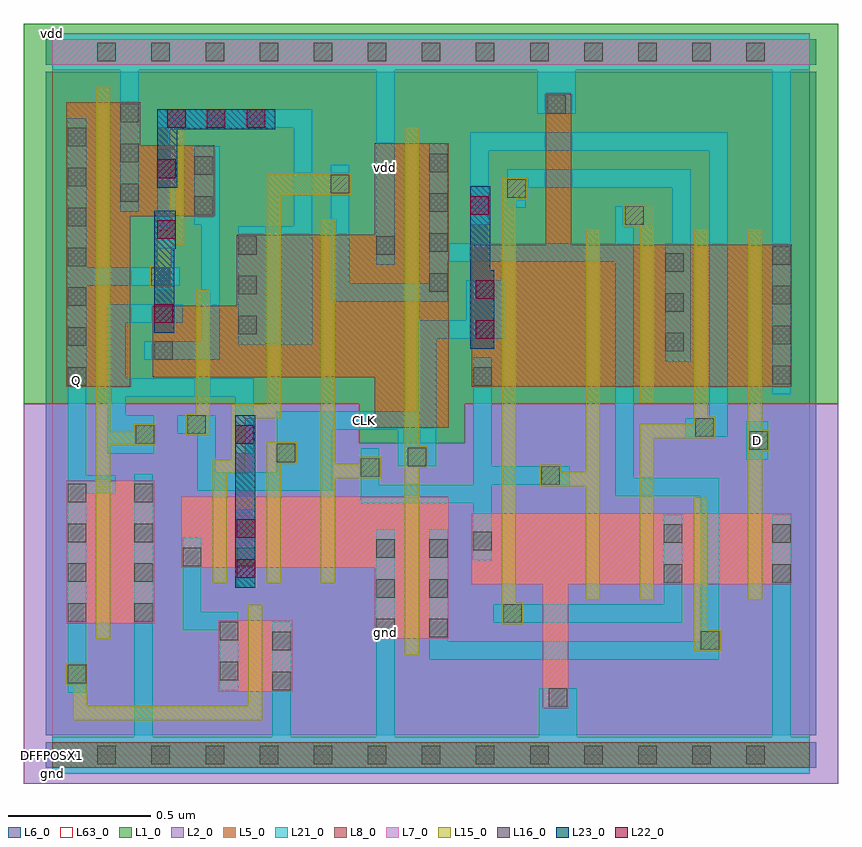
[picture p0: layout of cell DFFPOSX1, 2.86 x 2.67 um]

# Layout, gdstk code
import gdstk
lib = gdstk.Library(unit=1e-6, precision=1e-09)
def R(c, l, rs):  # rectangles x0, y0, x1, y1
    for r in rs: c.add(gdstk.rectangle(r[:2], r[2:], *l))
def A(c, l, x, y, w, h, nx, ny, dx, dy):  # array of equal rectangles
    R(c, l, [(x+i*dx, y+j*dy, x+i*dx+w, y+j*dy+h) for i in range(nx) for j in range(ny)])
def P(c, l, *ps):  # polygons
    for p in ps: c.add(gdstk.Polygon(p, *l))
L1_0 = (1, 0)
L2_0 = (2, 0)
L5_0 = (5, 0)
L6_0 = (6, 0)
L7_0 = (7, 0)
L8_0 = (8, 0)
L15_0 = (15, 0)
L16_0 = (16, 0)
L21_0 = (21, 0)
L22_0 = (22, 0)
L23_0 = (23, 0)
L63_0 = (63, 0)

dffposx1 = lib.new_cell('DFFPOSX1')
P(dffposx1, L1_0, [(1.448,1.095),(1.078,1.095),(1.078,1.235),(-0.1,1.235),(-0.1,2.57),(2.76,2.57),(2.76,1.235),(1.448,1.235)])
P(dffposx1, L2_0, [(-0.1,1.235),(1.078,1.235),(1.078,1.095),(1.448,1.095),(1.448,1.235),(2.76,1.235),(2.76,-0.1),(-0.1,-0.1)])
A(dffposx1, L5_0, 1.873, 0.6, 0.05, 0.25, 4, 1, 0.19, 0)
A(dffposx1, L5_0, 1.923, 0.6, 0.14, 0.25, 3, 1, 0.19, 0)
A(dffposx1, L5_0, 0.563, 0.658, 0.05, 0.25, 3, 1, 0.19, 0)
A(dffposx1, L5_0, 1.873, 1.293, 0.05, 0.5, 4, 1, 0.19, 0)
A(dffposx1, L5_0, 1.923, 1.293, 0.14, 0.5, 3, 1, 0.19, 0)
R(dffposx1, L5_0, [(0,-0.045,2.66,0.045), (0.583,0.223,0.688,0.473), (0.688,0.223,0.738,0.473), (0.738,0.223,0.843,0.473), (1.238,0.408,1.288,0.908), (1.288,0.408,1.393,0.908), (0.048,0.463,0.153,0.963), (0.153,0.463,0.203,0.963), (0.203,0.463,0.358,0.963), (1.473,0.6,1.578,0.85), (1.578,0.6,1.628,0.85), (2.493,0.6,2.598,0.85), (0.453,0.658,0.563,0.908), (0.613,0.658,0.753,0.908), (0.803,0.658,0.943,0.908), (1.238,1.15,1.288,2.15), (1.288,1.15,1.393,2.15), (0.048,1.293,0.153,2.293), (0.153,1.293,0.203,2.293), (1.473,1.293,1.578,1.793), (1.578,1.293,1.628,1.793), (2.493,1.293,2.598,1.793), (0.353,1.328,0.503,1.578), (0.503,1.328,0.553,1.578), (0.753,1.328,0.803,1.828), (0.803,1.328,0.943,1.828), (0.943,1.328,0.993,1.828), (0.413,1.893,0.463,2.143), (0.463,1.893,0.568,2.143), (0,2.425,2.66,2.515)])
P(dffposx1, L5_0, [(1.238,0.908),(1.238,0.408),(1.133,0.408),(1.133,0.658),(0.993,0.658),(0.993,0.908)],
  [(1.628,0.6),(1.628,0.85),(1.873,0.85),(1.873,0.6),(1.813,0.6),(1.813,0.165),(1.723,0.165),(1.723,0.6)],
  [(0.308,2.143),(0.413,2.143),(0.413,1.893),(0.273,1.893),(0.273,1.293),(0.203,1.293),(0.203,2.293),(0.308,2.293)],
  [(0.753,1.828),(0.753,1.328),(0.553,1.328),(0.553,1.578),(0.648,1.578),(0.648,1.828)],
  [(1.238,2.15),(1.238,1.15),(1.133,1.15),(1.133,1.328),(0.993,1.328),(0.993,1.828),(1.133,1.828),(1.133,2.15)],
  [(1.628,1.293),(1.628,1.793),(1.733,1.793),(1.733,2.323),(1.823,2.323),(1.823,1.793),(1.873,1.793),(1.873,1.293)])
R(dffposx1, L6_0, [(-0.023,-0.045,2.683,0.045), (-0.023,-0.045,2.683,0.045), (-0.023,2.425,2.683,2.515), (-0.023,2.425,2.683,2.515)])
P(dffposx1, L6_0, [(1.078,1.235),(1.078,1.095),(1.448,1.095),(1.448,1.235),(2.683,1.235),(2.683,0.07),(-0.023,0.07),(-0.023,1.235)],
  [(-0.023,1.235),(-0.023,2.4),(2.683,2.4),(2.683,1.235),(1.448,1.235),(1.448,1.095),(1.078,1.095),(1.078,1.235)])
A(dffposx1, L7_0, 1.873, 0.6, 0.05, 0.25, 4, 1, 0.19, 0)
A(dffposx1, L7_0, 1.923, 0.6, 0.14, 0.25, 3, 1, 0.19, 0)
A(dffposx1, L7_0, 0.563, 0.658, 0.05, 0.25, 3, 1, 0.19, 0)
R(dffposx1, L7_0, [(0.583,0.223,0.688,0.473), (0.688,0.223,0.738,0.473), (0.738,0.223,0.843,0.473), (1.238,0.408,1.288,0.908), (1.288,0.408,1.393,0.908), (0.048,0.463,0.153,0.963), (0.153,0.463,0.203,0.963), (0.203,0.463,0.358,0.963), (1.473,0.6,1.578,0.85), (1.578,0.6,1.628,0.85), (2.493,0.6,2.598,0.85), (0.453,0.658,0.563,0.908), (0.613,0.658,0.753,0.908), (0.803,0.658,0.943,0.908), (0,2.425,2.66,2.515)])
P(dffposx1, L7_0, [(1.238,0.908),(1.238,0.408),(1.133,0.408),(1.133,0.658),(0.993,0.658),(0.993,0.908)],
  [(1.628,0.6),(1.628,0.85),(1.873,0.85),(1.873,0.6),(1.813,0.6),(1.813,0.165),(1.723,0.165),(1.723,0.6)])
A(dffposx1, L8_0, 1.873, 1.293, 0.05, 0.5, 4, 1, 0.19, 0)
A(dffposx1, L8_0, 1.923, 1.293, 0.14, 0.5, 3, 1, 0.19, 0)
R(dffposx1, L8_0, [(0,-0.045,2.66,0.045), (1.238,1.15,1.288,2.15), (1.288,1.15,1.393,2.15), (0.048,1.293,0.153,2.293), (0.153,1.293,0.203,2.293), (1.473,1.293,1.578,1.793), (1.578,1.293,1.628,1.793), (2.493,1.293,2.598,1.793), (0.353,1.328,0.503,1.578), (0.503,1.328,0.553,1.578), (0.753,1.328,0.803,1.828), (0.803,1.328,0.943,1.828), (0.943,1.328,0.993,1.828), (0.413,1.893,0.463,2.143), (0.463,1.893,0.568,2.143)])
P(dffposx1, L8_0, [(0.308,2.143),(0.413,2.143),(0.413,1.893),(0.273,1.893),(0.273,1.293),(0.203,1.293),(0.203,2.293),(0.308,2.293)],
  [(0.753,1.828),(0.753,1.328),(0.553,1.328),(0.553,1.578),(0.648,1.578),(0.648,1.828)],
  [(1.238,2.15),(1.238,1.15),(1.133,1.15),(1.133,1.328),(0.993,1.328),(0.993,1.828),(1.133,1.828),(1.133,2.15)],
  [(1.628,1.293),(1.628,1.793),(1.733,1.793),(1.733,2.323),(1.823,2.323),(1.823,1.793),(1.873,1.793),(1.873,1.293)])
A(dffposx1, L15_0, 1.873, 0.6, 0.05, 0.25, 4, 1, 0.19, 0)
A(dffposx1, L15_0, 0.563, 0.603, 0.05, 0.055, 3, 1, 0.19, 0)
A(dffposx1, L15_0, 0.563, 0.658, 0.05, 0.25, 3, 1, 0.19, 0)
A(dffposx1, L15_0, 1.873, 1.293, 0.05, 0.5, 4, 1, 0.19, 0)
R(dffposx1, L15_0, [(0.688,0.223,0.738,0.473), (1.238,0.353,1.288,0.408), (0.153,0.408,0.203,0.463), (1.238,0.408,1.288,0.908), (0.153,0.463,0.203,0.963), (0.688,0.473,0.738,0.528), (1.873,0.545,1.923,0.6), (2.063,0.545,2.113,0.6), (2.443,0.545,2.493,0.6), (1.578,0.6,1.628,0.85), (1.578,0.85,1.628,1.293), (2.253,0.85,2.303,0.905), (1.238,1.15,1.288,2.15), (2.063,1.238,2.113,1.293), (0.153,1.293,0.203,2.293), (1.578,1.293,1.628,1.793), (0.503,1.328,0.553,1.578), (0.753,1.328,0.803,1.828), (0.943,1.328,0.993,1.828), (0.503,1.578,0.553,1.633), (1.873,1.793,1.923,1.848), (2.253,1.793,2.303,1.848), (2.443,1.793,2.493,1.848), (0.943,1.828,0.993,1.883), (0.413,1.893,0.463,2.143), (0.413,2.143,0.463,2.198), (1.238,2.15,1.288,2.205), (0.153,2.293,0.203,2.348)])
P(dffposx1, L15_0, [(0.153,1.293),(0.203,1.293),(0.203,1.138),(0.288,1.138),(0.288,1.163),(0.363,1.163),(0.363,1.088),(0.203,1.088),(0.203,0.963),(0.153,0.963)],
  [(0.563,1.038),(0.628,1.038),(0.628,1.233),(0.753,1.233),(0.753,1.328),(0.803,1.328),(0.803,1.183),(0.678,1.183),(0.678,0.988),(0.613,0.988),(0.613,0.908),(0.563,0.908)],
  [(0.688,0.173),(0.688,0.223),(0.738,0.223),(0.738,0.123),(0.073,0.123),(0.073,0.248),(0.048,0.248),(0.048,0.323),(0.123,0.323),(0.123,0.173)],
  [(0.503,1.198),(0.503,1.328),(0.553,1.328),(0.553,1.123),(0.468,1.123),(0.468,1.198)],
  [(0.413,1.843),(0.413,1.893),(0.463,1.893),(0.463,1.793),(0.418,1.793),(0.418,1.643),(0.343,1.643),(0.343,1.718),(0.368,1.718),(0.368,1.843)],
  [(0.753,1.098),(0.858,1.098),(0.858,1.023),(0.803,1.023),(0.803,0.908),(0.753,0.908)],
  [(0.753,2.043),(1.048,2.043),(1.048,1.968),(0.803,1.968),(0.803,1.828),(0.753,1.828)],
  [(0.943,1.328),(0.993,1.328),(0.993,1.023),(1.078,1.023),(1.078,1.048),(1.153,1.048),(1.153,0.973),(0.993,0.973),(0.993,0.908),(0.943,0.908)],
  [(1.238,1.15),(1.288,1.15),(1.288,1.085),(1.318,1.085),(1.318,1.01),(1.288,1.01),(1.288,0.908),(1.238,0.908)],
  [(1.628,0.535),(1.653,0.535),(1.653,0.46),(1.578,0.46),(1.578,0.6),(1.628,0.6)],
  [(1.578,2.027),(1.668,2.027),(1.668,1.953),(1.628,1.953),(1.628,1.793),(1.578,1.793)],
  [(1.873,0.945),(1.713,0.945),(1.713,1.02),(1.788,1.02),(1.788,0.995),(1.873,0.995),(1.873,1.293),(1.923,1.293),(1.923,0.85),(1.873,0.85)],
  [(2.063,1.163),(2.253,1.163),(2.253,1.293),(2.303,1.293),(2.303,1.188),(2.328,1.188),(2.328,1.113),(2.113,1.113),(2.113,0.85),(2.063,0.85)],
  [(2.063,1.858),(2.007,1.858),(2.007,1.933),(2.113,1.933),(2.113,1.793),(2.063,1.793)],
  [(2.303,0.44),(2.348,0.44),(2.348,0.365),(2.253,0.365),(2.253,0.6),(2.303,0.6)],
  [(2.443,1.293),(2.493,1.293),(2.493,1.143),(2.518,1.143),(2.518,1.068),(2.493,1.068),(2.493,0.85),(2.443,0.85)])
A(dffposx1, L16_0, 0.158, -0.033, 0.065, 0.066, 13, 1, 0.19, 0)
A(dffposx1, L16_0, 1.138, 0.413, 0.065, 0.065, 1, 3, 0, 0.14)
A(dffposx1, L16_0, 1.323, 0.413, 0.065, 0.065, 1, 3, 0, 0.14)
A(dffposx1, L16_0, 0.053, 0.468, 0.065, 0.065, 1, 4, 0, 0.14)
A(dffposx1, L16_0, 0.288, 0.468, 0.065, 0.065, 1, 4, 0, 0.14)
A(dffposx1, L16_0, 0.053, 1.298, 0.065, 0.065, 1, 7, 0, 0.14)
A(dffposx1, L16_0, 2.528, 1.303, 0.065, 0.065, 1, 4, 0, 0.14)
A(dffposx1, L16_0, 2.153, 1.418, 0.065, 0.065, 1, 3, 0, 0.14)
A(dffposx1, L16_0, 0.653, 1.478, 0.065, 0.065, 1, 3, 0, 0.14)
A(dffposx1, L16_0, 1.323, 1.628, 0.065, 0.065, 1, 3, 0, 0.14)
A(dffposx1, L16_0, 0.158, 2.438, 0.065, 0.065, 13, 1, 0.19, 0)
R(dffposx1, L16_0, [(1.743,0.17,1.808,0.235), (0.773,0.228,0.838,0.293), (0.053,0.253,0.118,0.318), (0.588,0.263,0.653,0.328), (0.773,0.368,0.838,0.433), (2.278,0.37,2.343,0.435), (0.588,0.403,0.653,0.468), (1.583,0.465,1.648,0.53), (2.148,0.605,2.213,0.67), (2.528,0.605,2.593,0.67), (0.458,0.663,0.523,0.728), (0.648,0.663,0.713,0.728), (1.478,0.72,1.543,0.785), (2.148,0.745,2.213,0.81), (2.528,0.745,2.593,0.81), (1.718,0.95,1.783,1.015), (1.083,0.978,1.148,1.043), (1.248,1.015,1.313,1.08), (0.788,1.028,0.853,1.093), (2.448,1.073,2.513,1.138), (0.293,1.093,0.358,1.158), (2.258,1.118,2.323,1.183), (0.473,1.128,0.538,1.193), (1.478,1.298,1.543,1.363), (0.358,1.388,0.423,1.453), (0.348,1.648,0.413,1.713), (1.138,1.758,1.203,1.823), (2.013,1.863,2.078,1.928), (0.498,1.898,0.563,1.963), (0.238,1.943,0.303,2.007), (1.598,1.958,1.663,2.023), (0.978,1.973,1.043,2.038), (0.498,2.038,0.563,2.103), (1.323,2.047,1.388,2.113), (0.238,2.083,0.303,2.148), (0.238,2.223,0.303,2.288), (1.738,2.253,1.803,2.318)])
R(dffposx1, L21_0, [(0.648,0.588,0.713,0.863), (2.438,1.038,2.515,1.173), (0.368,1.778,0.433,2.128)])
P(dffposx1, L21_0, [(0,2.405),(0,2.535),(2.66,2.535),(2.66,2.405),(2.593,2.405),(2.593,1.268),(2.528,1.268),(2.528,2.405),(1.838,2.405),(1.838,2.253),(1.703,2.253),(1.703,2.405),(1.203,2.405),(1.203,1.723),(1.138,1.723),(1.138,2.405),(0.303,2.405),(0.303,1.908),(0.238,1.908),(0.238,2.405)],
  [(0,-0.065),(0,0.065),(0.288,0.065),(0.288,0.988),(0.353,0.988),(0.353,0.065),(0.773,0.065),(0.773,0.468),(0.838,0.468),(0.838,0.065),(1.138,0.065),(1.138,0.793),(1.203,0.793),(1.203,0.065),(1.708,0.065),(1.708,0.235),(1.843,0.235),(1.843,0.065),(2.528,0.065),(2.528,0.845),(2.593,0.845),(2.593,0.065),(2.66,0.065),(2.66,-0.065)],
  [(2.278,0.4),(2.278,0.91),(1.978,0.91),(1.978,1.733),(1.388,1.733),(1.388,1.593),(0.978,1.593),(0.978,2.073),(1.043,2.073),(1.043,1.658),(1.323,1.658),(1.323,2.148),(1.388,2.148),(1.388,1.798),(1.978,1.798),(1.978,1.928),(2.113,1.928),(2.113,1.863),(2.043,1.863),(2.043,0.975),(2.343,0.975),(2.343,0.335),(1.323,0.335),(1.323,0.793),(1.388,0.793),(1.388,0.4)],
  [(0.788,0.993),(0.788,1.208),(1.283,1.208),(1.283,1.528),(1.453,1.528),(1.453,1.668),(1.588,1.668),(1.588,1.463),(1.348,1.463),(1.348,1.015),(1.213,1.015),(1.213,1.143),(0.983,1.143),(0.983,0.928),(0.508,0.928),(0.508,1.128),(0.438,1.128),(0.438,1.193),(0.573,1.193),(0.573,0.993)],
  [(1.468,2.188),(2.373,2.188),(2.373,1.118),(2.223,1.118),(2.223,1.183),(2.308,1.183),(2.308,2.123),(1.533,2.123),(1.533,1.863),(1.468,1.863)],
  [(2.243,2.058),(2.243,1.383),(2.153,1.383),(2.153,1.798),(2.178,1.798),(2.178,1.993),(1.663,1.993),(1.663,1.923),(1.598,1.923),(1.598,2.058)],
  [(2.148,0.53),(2.148,0.845),(2.213,0.845),(2.213,0.465),(1.548,0.465),(1.548,0.53)],
  [(1.148,0.95),(1.478,0.95),(1.478,1.398),(1.543,1.398),(1.543,1.015),(1.818,1.015),(1.818,0.95),(1.543,0.95),(1.543,0.685),(1.478,0.685),(1.478,0.885),(1.083,0.885),(1.083,1.078),(1.148,1.078)],
  [(0.913,2.268),(0.913,1.443),(0.653,1.443),(0.653,1.858),(0.848,1.858),(0.848,2.203),(0.368,2.203),(0.368,2.268)],
  [(0.193,1.583),(0.458,1.583),(0.458,1.518),(0.258,1.518),(0.258,1.323),(0.708,1.323),(0.708,1.058),(0.643,1.058),(0.643,1.258),(0.258,1.258),(0.258,1.193),(0.358,1.193),(0.358,1.058),(0.193,1.058)],
  [(0.323,1.388),(0.323,1.453),(0.523,1.453),(0.523,1.863),(0.498,1.863),(0.498,2.138),(0.588,2.138),(0.588,1.388)],
  [(0.118,1.713),(0.448,1.713),(0.448,1.648),(0.118,1.648),(0.118,0.983),(0.223,0.983),(0.223,0.918),(0.118,0.918),(0.118,0.218),(0.053,0.218),(0.053,2.238),(0.118,2.238)],
  [(0.458,0.438),(0.458,0.763),(0.523,0.763),(0.523,0.503),(0.653,0.503),(0.653,0.228),(0.588,0.228),(0.588,0.438)])
A(dffposx1, L22_0, 0.403, 2.203, 0.065, 0.065, 3, 1, 0.14, 0)
R(dffposx1, L22_0, [(0.648,0.623,0.713,0.688), (0.648,0.763,0.713,0.828), (0.643,1.093,0.708,1.158), (1.488,1.463,1.553,1.528), (0.358,1.518,0.423,1.583), (1.488,1.603,1.553,1.668), (0.368,1.813,0.433,1.878), (1.468,1.898,1.533,1.963), (0.368,2.027,0.433,2.093)])
R(dffposx1, L23_0, [(0.643,0.588,0.713,1.193)])
P(dffposx1, L23_0, [(1.468,1.998),(1.538,1.998),(1.538,1.703),(1.553,1.703),(1.553,1.428),(1.468,1.428)],
  [(0.368,1.993),(0.368,2.268),(0.783,2.268),(0.783,2.198),(0.438,2.198),(0.438,1.993)],
  [(0.358,1.483),(0.358,1.913),(0.433,1.913),(0.433,1.778),(0.428,1.778),(0.428,1.483)])
R(dffposx1, L63_0, [(0,0,2.66,2.47)])
dffposx1.add(gdstk.Label('vdd', (1.17,2.064), layer=21, texttype=1))
dffposx1.add(gdstk.Label('gnd', (1.17,0.429), layer=21, texttype=1))
dffposx1.add(gdstk.Label('CLK', (1.098,1.175), layer=21, texttype=1))
dffposx1.add(gdstk.Label('D', (2.476,1.105), layer=21, texttype=1))
dffposx1.add(gdstk.Label('Q', (0.085,1.315), layer=21, texttype=1))
dffposx1.add(gdstk.Label('vdd', (0,2.535), layer=21, texttype=2))
dffposx1.add(gdstk.Label('gnd', (0,-0.065), layer=21, texttype=2))
dffposx1.add(gdstk.Label('DFFPOSX1', (0,0), layer=63, texttype=1))

lib.write_gds('DFFPOSX1.gds')
